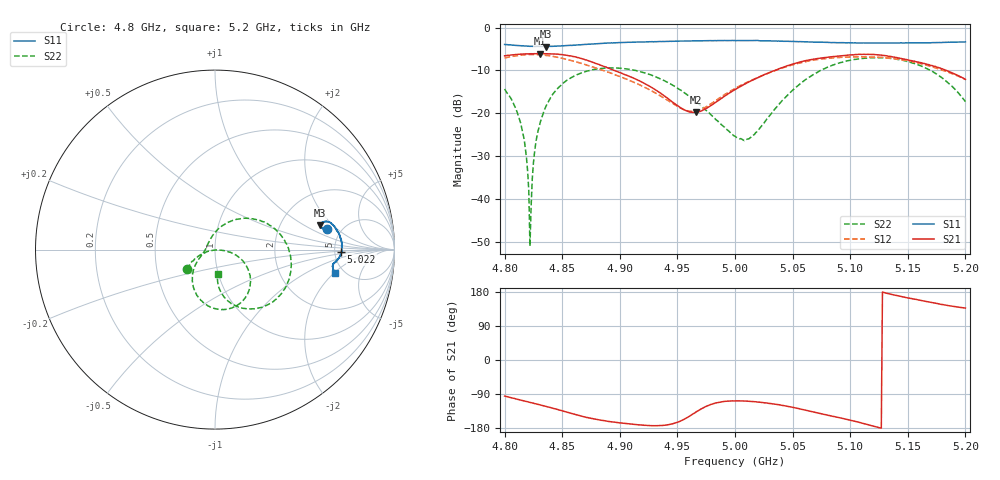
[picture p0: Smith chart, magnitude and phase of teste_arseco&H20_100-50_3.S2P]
! Network Analyzer HP8722D
! Hewlett-Packard
! Data name: Linha & Wilkinson
! Saver's name: Rodrigo Anjos
! Comments: Teste da utilização de aquisição
! continua pelo VNA HP8722D
! Time and date: 6/5/2025 12:35
!  Frequency  S11  S21  S12  S22
# HZ  S  MA R 50
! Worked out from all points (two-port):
!   401 points, 4.8 GHz to 5.2 GHz, reference 50 ohm
!   highest |S21| = -6.05 dB at 4.831 GHz (marker M1); lowest = -19.8 dB at 4.966 GHz (marker M2)
!   |S21| within 3 dB of the highest: start of sweep to 4.886 GHz; 5.044 GHz to 5.174 GHz (129.7 MHz wide, 2.54 % of centre)
!   lowest |S11| = -4.4 dB at 4.836 GHz (marker M3), VSWR 4.02, Z = 168 + j71.3 ohm
!   |S11| at or under -10 dB: nowhere
!   |S22| runs from -51.1 to -7.0 dB; largest |S21 - S12| = 0.11
!   S11 on the Smith chart (normalised r, x): 4.8 GHz: 3.90, +1.49; 5.022 GHz: 5.72, -0.30; 5.2 GHz: 4.22, -2.08
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4.8e9  0.6369 10.3  0.4693 -95.2  0.443 -81.3  0.1918 -145.7
4.815e9  0.6139 10.8  0.4909 -106.5  0.4781 -95.3  0.06555 -161.9
4.818e9  0.6115 11.0  0.4933 -108.8  0.4841 -98.2  0.03894 -166.1
4.82e9  0.6082 11.4  0.4943 -110.3  0.486 -100.3  0.02091 -163.3
4.822e9  0.6054 11.4  0.4951 -111.9  0.4854 -102.5  0.002789 -112.5
4.824e9  0.605 11.6  0.4948 -113.4  0.4866 -104.5  0.01692 -10.6
4.827e9  0.6051 11.9  0.4955 -115.5  0.4843 -107.3  0.04452 -6.5
4.831e9  0.6026 12.3  0.4985 -118.7  0.482 -111.1  0.07882 -9.9
4.836e9  0.6014 13.0  0.4958 -122.5  0.4729 -116.0  0.1214 -14.8
4.849e9  0.6121 14.1  0.4859 -133.2  0.4423 -127.6  0.2135 -30.7
4.867e9  0.6323 14.3  0.434 -148.3  0.3811 -140.4  0.2972 -50.5
4.899e9  0.6699 12.2  0.3024 -165.6  0.2716 -155.4  0.3362 -82.7
4.934e9  0.6887 8.8  0.1763 -173.2  0.1635 -160.1  0.2566 -116.0
4.966e9  0.7009 5.4  0.1022 -137.5  0.1058 -126.4  0.1371 -142.3
5e9  0.709 1.7  0.1893 -107.8  0.1951 -101.9  0.05391 179.1
5.01e9  0.7066 0.4  0.225 -108.5  0.2283 -103.4  0.04935 149.1
5.022e9  0.703 -1.1  0.2685 -111.5  0.2693 -106.8  0.06819 108.9
5.067e9  0.6803 -5.5  0.4264 -136.5  0.4155 -131.8  0.2772 37.6
5.102e9  0.6643 -6.8  0.4823 -160.3  0.4556 -155.9  0.4211 -4.3
5.134e9  0.6631 -7.9  0.4629 174.7  0.441 -178.2  0.4389 -38.8
5.17e9  0.6659 -9.6  0.3615 152.3  0.3525 158.3  0.3158 -73.1
5.2e9  0.6822 -11.2  0.2488 137.1  0.2489 144.9  0.1368 -83.2
